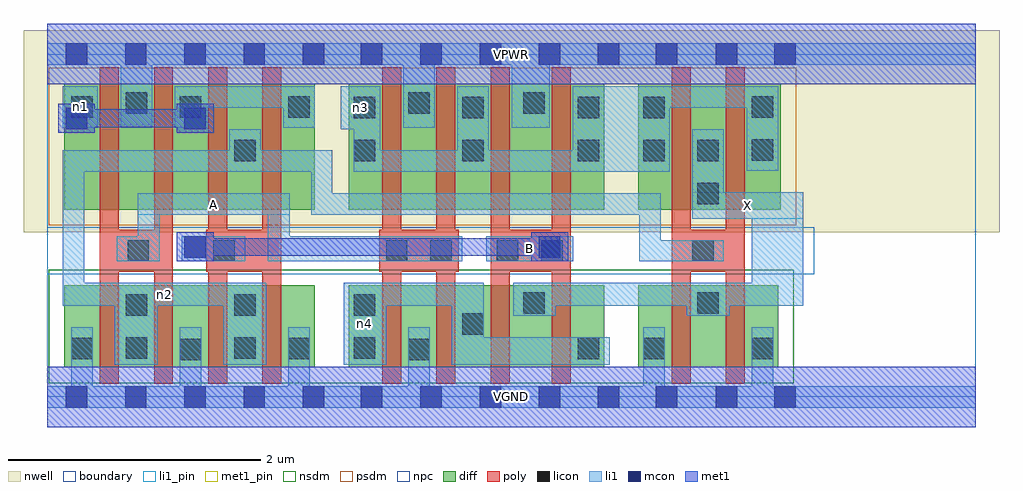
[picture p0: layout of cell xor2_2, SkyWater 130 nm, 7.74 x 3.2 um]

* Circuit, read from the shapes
.subckt xor2_2 A B VGND VPWR X n1 n2 n3 n4
XM1 n2 A VGND VSUBS sky130_fd_pr__nfet_01v8 w=0.65 l=0.15 m=2
XM2 n2 B VGND VSUBS sky130_fd_pr__nfet_01v8 w=0.65 l=0.15 m=2
XM3 VGND A n4 VSUBS sky130_fd_pr__nfet_01v8 w=0.65 l=0.15 m=2
XM4 X B n4 VSUBS sky130_fd_pr__nfet_01v8 w=0.65 l=0.15 m=2
XM5 X n2 VGND VSUBS sky130_fd_pr__nfet_01v8 w=0.65 l=0.15 m=2
XM6 VPWR A n1 n5 sky130_fd_pr__pfet_01v8 w=1 l=0.15 m=2
XM7 n2 B n1 n5 sky130_fd_pr__pfet_01v8 w=1 l=0.15 m=2
XM8 VPWR A n3 n5 sky130_fd_pr__pfet_01v8 w=1 l=0.15 m=2
XM9 VPWR B n3 n5 sky130_fd_pr__pfet_01v8 w=1 l=0.15 m=2
XM10 X n2 n3 n5 sky130_fd_pr__pfet_01v8 w=1 l=0.15 m=2
.ends

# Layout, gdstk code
import gdstk
lib = gdstk.Library(unit=1e-6, precision=1e-09)
def R(c, l, rs):  # rectangles x0, y0, x1, y1
    for r in rs: c.add(gdstk.rectangle(r[:2], r[2:], *l))
def A(c, l, x, y, w, h, nx, ny, dx, dy):  # array of equal rectangles
    R(c, l, [(x+i*dx, y+j*dy, x+i*dx+w, y+j*dy+h) for i in range(nx) for j in range(ny)])
nwell = (64, 20)
diff = (65, 20)
poly = (66, 20)
licon = (66, 44)
li1_pin = (67, 16)
li1 = (67, 20)
mcon = (67, 44)
met1_pin = (68, 16)
met1 = (68, 20)
nsdm = (93, 44)
psdm = (94, 20)
npc = (95, 20)
boundary = (235, 4)

xor2_2 = lib.new_cell('xor2_2')
R(xor2_2, nwell, [(-0.19,1.305,7.55,2.91), (0,1.305,7.36,2.91)])
R(xor2_2, diff, [(0.135,0.235,2.12,0.885), (2.39,0.235,4.415,0.885), (4.685,0.235,5.795,0.885), (0.135,1.485,2.12,2.485), (2.39,1.485,4.415,2.485), (4.685,1.485,5.815,2.485)])
A(xor2_2, poly, 0.415, 0.105, 0.15, 2.51, 4, 1, 0.43, 0)
A(xor2_2, poly, 2.655, 0.105, 0.15, 2.51, 3, 1, 0.43, 0)
R(xor2_2, poly, [(4,0.105,4.15,2.615), (4.95,0.105,5.1,2.615), (5.38,0.105,5.53,2.615), (0.415,0.995,0.995,1.325), (1.26,0.995,1.855,1.325), (2.63,0.995,3.26,1.325), (3.515,0.995,4.15,1.325), (4.95,0.995,5.53,1.325)])
A(xor2_2, licon, 0.19, 2.215, 0.17, 0.17, 3, 1, 0.86, 0)
R(xor2_2, licon, [(1.05,0.29,1.22,0.46), (2.86,0.29,3.03,0.46), (0.19,0.3,0.36,0.47), (1.91,0.3,2.08,0.47), (4.205,0.3,4.375,0.47), (4.725,0.3,4.895,0.47), (5.585,0.3,5.755,0.47), (0.62,0.305,0.79,0.475), (1.48,0.305,1.65,0.475), (2.43,0.305,2.6,0.475), (3.29,0.495,3.46,0.665), (0.62,0.645,0.79,0.815), (1.48,0.645,1.65,0.815), (2.43,0.645,2.6,0.815), (3.775,0.66,3.945,0.83), (5.155,0.66,5.325,0.83), (0.635,1.075,0.805,1.245), (1.315,1.075,1.485,1.245), (2.685,1.075,2.855,1.245), (3.035,1.075,3.205,1.245), (3.565,1.075,3.735,1.245), (3.915,1.075,4.085,1.245), (5.115,1.075,5.285,1.245), (5.155,1.53,5.325,1.7), (1.48,1.87,1.65,2.04), (2.43,1.87,2.6,2.04), (3.29,1.87,3.46,2.04), (4.205,1.87,4.375,2.04), (4.725,1.87,4.895,2.04), (5.155,1.87,5.325,2.04), (5.585,1.875,5.755,2.045), (2.43,2.21,2.6,2.38), (3.29,2.21,3.46,2.38), (4.205,2.21,4.375,2.38), (4.725,2.21,4.895,2.38), (5.585,2.215,5.755,2.385), (0.62,2.245,0.79,2.415), (2.86,2.245,3.03,2.415), (3.775,2.245,3.945,2.415)])
R(xor2_2, li1_pin, [(3.48,1.075,4.17,1.275), (5.115,1.415,5.995,1.625), (0.715,1.445,1.92,1.615)])
A(xor2_2, li1, 0.19, -0.085, 0.17, 0.64, 3, 1, 0.86, 0)
R(xor2_2, li1, [(0,-0.085,7.36,0.085), (2.86,-0.085,3.03,0.555), (4.725,-0.085,4.895,0.555), (5.585,-0.085,5.755,0.555), (0.535,0.255,0.875,0.905), (1.395,0.255,1.735,0.905), (2.35,0.255,2.685,0.905), (3.205,0.255,4.46,0.475), (3.205,0.255,3.46,0.905), (3.695,0.645,4.03,0.905), (5.07,0.645,5.41,0.905), (0.12,0.725,1.735,0.905), (0.12,0.725,0.29,1.955), (2.35,0.725,3.46,0.905), (3.695,0.725,5.995,0.905), (5.585,0.725,5.995,1.625), (0.55,1.075,0.89,1.275), (0.715,1.075,0.89,1.615), (1.065,1.075,1.57,1.275), (1.745,1.075,1.92,1.615), (1.745,1.075,3.29,1.275), (3.48,1.075,4.17,1.275), (4.695,1.075,5.365,1.245), (4.695,1.075,4.865,1.615), (5.115,1.415,5.365,2.125), (5.115,1.415,5.995,1.625), (0.715,1.445,1.92,1.615), (2.09,1.445,4.865,1.615), (2.09,1.445,2.26,1.955), (0.12,1.785,2.26,1.955), (1.44,1.785,1.69,2.125), (2.43,1.785,4.935,1.955), (2.43,1.785,2.64,2.465), (3.25,1.785,3.5,2.465), (4.165,1.785,4.935,2.465), (5.545,1.795,5.795,2.465), (0.145,2.125,0.315,2.465), (1.085,2.125,1.255,2.465), (2.325,2.125,2.64,2.465), (0.12,2.135,0.4,2.465), (0.58,2.135,0.83,2.805), (1.01,2.135,1.26,2.465), (1.87,2.135,2.12,2.465), (2.82,2.135,3.07,2.805), (3.68,2.135,3.985,2.805), (1.01,2.295,2.12,2.465), (4.165,2.295,5.795,2.465), (0,2.635,7.36,2.805)])
A(xor2_2, mcon, 0.145, -0.085, 0.17, 0.17, 5, 2, 0.47, 2.72)
R(xor2_2, mcon, [(2.485,-0.085,2.655,0.085), (2.955,-0.085,3.125,0.085), (3.43,-0.085,3.6,0.085), (3.895,-0.085,4.065,0.085), (4.365,-0.085,4.535,0.085), (4.825,-0.085,4.995,0.085), (5.3,-0.085,5.47,0.085), (5.765,-0.085,5.935,0.085), (1.085,1.105,1.255,1.275), (3.895,1.105,4.065,1.275), (0.145,2.125,0.315,2.295), (1.085,2.125,1.255,2.295), (2.485,2.635,2.655,2.805), (2.955,2.635,3.125,2.805), (3.43,2.635,3.6,2.805), (3.895,2.635,4.065,2.805), (4.365,2.635,4.535,2.805), (4.825,2.635,4.995,2.805), (5.3,2.635,5.47,2.805), (5.765,2.635,5.935,2.805)])
R(xor2_2, met1_pin, [(0,-0.24,7.36,0.24), (0,2.48,7.36,2.96)])
R(xor2_2, met1, [(0,-0.24,7.36,0.24), (1.025,1.075,1.32,1.305), (3.835,1.075,4.13,1.305), (1.025,1.12,4.13,1.26), (0.085,2.095,0.375,2.325), (1.025,2.095,1.32,2.325), (0.085,2.14,1.32,2.28), (0,2.48,7.36,2.96)])
R(xor2_2, nsdm, [(0.01,0.11,5.92,1.01)])
R(xor2_2, psdm, [(0.01,1.36,5.94,2.61)])
R(xor2_2, npc, [(0,0.975,6.08,1.345)])
R(xor2_2, boundary, [(0,0,7.36,2.72)])
xor2_2.add(gdstk.Label('A', (1.317,1.53), layer=67, texttype=5))
xor2_2.add(gdstk.Label('B', (3.825,1.175), layer=67, texttype=5))
xor2_2.add(gdstk.Label('X', (5.555,1.52), layer=67, texttype=5))
xor2_2.add(gdstk.Label('n4', (2.517,0.58), layer=67, texttype=5))
xor2_2.add(gdstk.Label('n2', (0.927,0.815), layer=67, texttype=5))
xor2_2.add(gdstk.Label('n1', (0.26,2.3), layer=67, texttype=5))
xor2_2.add(gdstk.Label('n3', (2.482,2.295), layer=67, texttype=5))
xor2_2.add(gdstk.Label('VPWR', (3.68,2.72), layer=68, texttype=5))
xor2_2.add(gdstk.Label('VGND', (3.68,0), layer=68, texttype=5))
xor2_2.add(gdstk.Label('A', (1.317,1.53), layer=67, texttype=16))
xor2_2.add(gdstk.Label('B', (3.825,1.175), layer=67, texttype=16))
xor2_2.add(gdstk.Label('X', (5.555,1.52), layer=67, texttype=16))
xor2_2.add(gdstk.Label('VPWR', (3.68,2.72), layer=68, texttype=16))
xor2_2.add(gdstk.Label('VGND', (3.68,0), layer=68, texttype=16))

lib.write_gds('xor2_2.gds')
